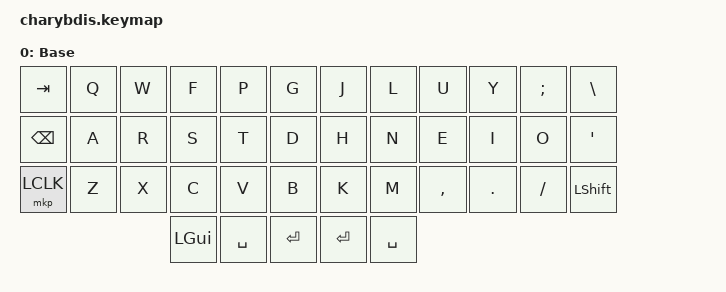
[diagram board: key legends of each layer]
#include <dt-bindings/zmk/mouse.h>
#include <behaviors.dtsi>
#include <dt-bindings/zmk/keys.h>

/ {
    combos { compatible = "zmk,combos"; };

    keymap {
        compatible = "zmk,keymap";

        Base {
            bindings = <
&kp TAB    &kp Q  &kp W  &kp F     &kp P      &kp G      &kp J      &kp L      &kp U      &kp Y    &kp SEMI  &kp BSLH
&kp BSPC   &kp A  &kp R  &kp S     &kp T      &kp D      &kp H      &kp N      &kp E      &kp I    &kp O     &kp SQT
&mkp LCLK  &kp Z  &kp X  &kp C     &kp V      &kp B      &kp K      &kp M      &kp COMMA  &kp DOT  &kp FSLH  &kp LSHFT
                         &kp LGUI  &kp SPACE  &kp RET    &kp ENTER  &kp SPACE
            >;

            trackball-bindings = <&tmv_coarse>;
        };
    };
};
